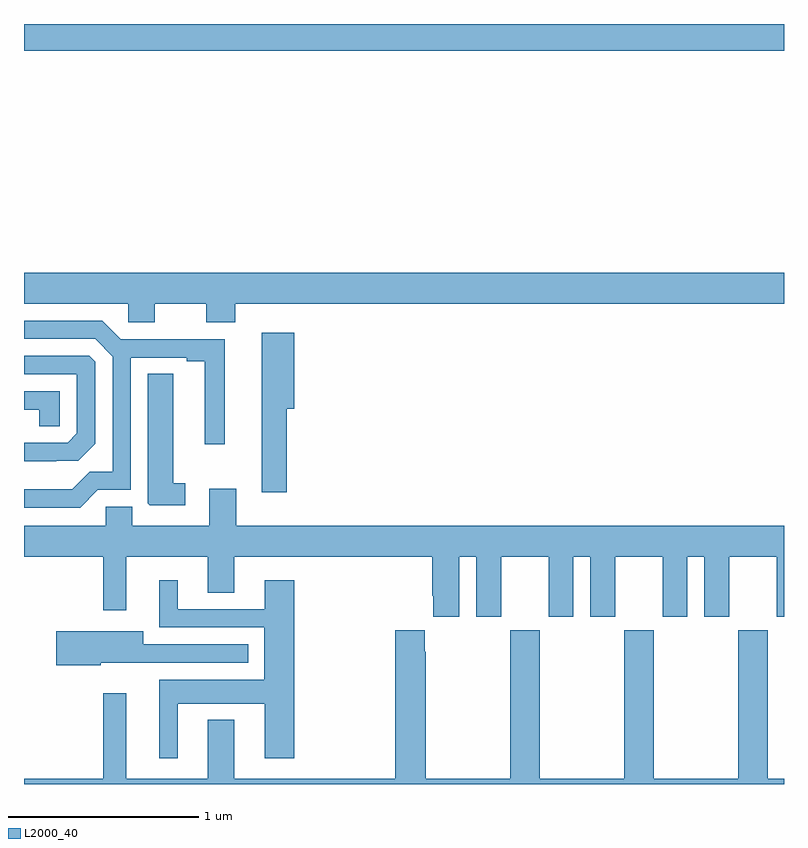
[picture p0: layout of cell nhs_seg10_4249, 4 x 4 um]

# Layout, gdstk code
import gdstk
lib = gdstk.Library(unit=1e-6, precision=1e-09)
def R(c, l, rs):  # rectangles x0, y0, x1, y1
    for r in rs: c.add(gdstk.rectangle(r[:2], r[2:], *l))
def P(c, l, *ps):  # polygons
    for p in ps: c.add(gdstk.Polygon(p, *l))
L2000_40 = (2000, 40)

nhs_seg10_4249 = lib.new_cell('nhs_seg10_4249')
R(nhs_seg10_4249, L2000_40, [(349,1256.36,353,1256.5)])
P(nhs_seg10_4249, L2000_40, [(350.111,1255.028),(353,1255.028),(353,1255.192),(349,1255.192),(349,1255.028),(349.548,1255.028),(349.548,1254.93),(349.687,1254.93),(349.687,1255.028),(349.958,1255.028),(349.958,1254.929),(350.111,1254.929)],
  [(349.389,1254.048),(349.563,1254.048),(349.563,1254.744),(349.856,1254.744),(349.856,1254.724),(349.952,1254.724),(349.952,1254.288),(350.056,1254.288),(350.056,1254.84),(349.51,1254.84),(349.411,1254.939),(349,1254.939),(349,1254.843),(349.374,1254.843),(349.467,1254.75),(349.467,1254.143),(349.346,1254.143),(349.255,1254.052),(349,1254.052),(349,1253.955),(349.296,1253.955)],
  [(350.384,1254.476),(350.423,1254.476),(350.423,1254.874),(350.252,1254.874),(350.252,1254.036),(350.384,1254.036)],
  [(349.169,1254.202),(349.285,1254.202),(349.374,1254.291),(349.374,1254.723),(349.344,1254.753),(349,1254.753),(349,1254.657),(349.278,1254.657),(349.278,1254.345),(349.23,1254.297),(349,1254.297),(349,1254.2),(349.169,1254.2)],
  [(349.849,1254.083),(349.786,1254.083),(349.786,1254.659),(349.652,1254.659),(349.652,1253.977),(349.662,1253.967),(349.849,1253.967)],
  [(349.188,1254.567),(349,1254.567),(349,1254.47),(349.08,1254.47),(349.08,1254.382),(349.188,1254.382)],
  [(351.292,1253.696),(351.38,1253.696),(351.38,1253.379),(351.511,1253.379),(351.511,1253.696),(351.761,1253.696),(351.761,1253.379),(351.892,1253.379),(351.892,1253.696),(351.98,1253.696),(351.98,1253.379),(352.111,1253.379),(352.111,1253.696),(352.361,1253.696),(352.361,1253.379),(352.492,1253.379),(352.492,1253.696),(352.58,1253.696),(352.58,1253.379),(352.711,1253.379),(352.711,1253.696),(352.961,1253.696),(352.961,1253.379),(353,1253.379),(353,1253.86),(350.116,1253.86),(350.116,1254.055),(349.976,1254.055),(349.976,1253.86),(349.57,1253.86),(349.57,1253.958),(349.431,1253.958),(349.431,1253.86),(349,1253.86),(349,1253.696),(349.416,1253.696),(349.416,1253.415),(349.537,1253.415),(349.537,1253.696),(349.967,1253.696),(349.967,1253.506),(350.107,1253.506),(350.107,1253.696),(351.149,1253.696),(351.149,1253.491),(351.155,1253.491),(351.155,1253.379),(351.292,1253.379)],
  [(349.81,1252.922),(350.267,1252.922),(350.267,1252.635),(350.423,1252.635),(350.423,1253.572),(350.267,1253.572),(350.267,1253.421),(349.81,1253.421),(349.81,1253.572),(349.712,1253.572),(349.712,1253.325),(350.264,1253.325),(350.264,1253.05),(349.712,1253.05),(349.712,1252.635),(349.81,1252.635)],
  [(353,1252.528),(352.914,1252.528),(352.914,1253.308),(352.759,1253.308),(352.759,1252.528),(352.314,1252.528),(352.314,1253.308),(352.159,1253.308),(352.159,1252.528),(351.714,1252.528),(351.714,1253.308),(351.559,1253.308),(351.559,1252.528),(351.114,1252.528),(351.114,1253.195),(351.109,1253.195),(351.109,1253.308),(350.954,1253.308),(350.954,1252.528),(350.107,1252.528),(350.107,1252.837),(349.967,1252.837),(349.967,1252.528),(349.537,1252.528),(349.537,1252.978),(349.416,1252.978),(349.416,1252.528),(349,1252.528),(349,1252.5),(353,1252.5)],
  [(349.404,1253.138),(349.623,1253.138),(349.623,1253.139),(350.179,1253.139),(350.179,1253.235),(349.627,1253.235),(349.627,1253.304),(349.17,1253.304),(349.17,1253.126),(349.404,1253.126)])

lib.write_gds('nhs_seg10_4249.gds')
